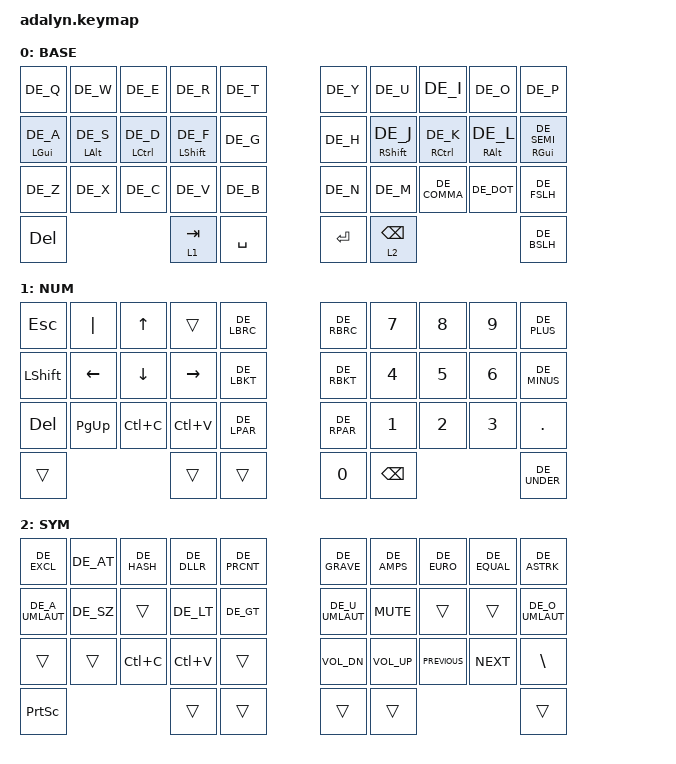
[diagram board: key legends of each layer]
#include <behaviors.dtsi>
#include <dt-bindings/zmk/keys.h>
#include <locale/keys_de.h>

#define BASE 0
#define NUM  1
#define NAV  2

#define COMBO(NAME, BINDINGS, KEYPOS, LAYERS) \
combo_##NAME { \
    timeout-ms = <20>; \
    bindings = <BINDINGS>; \
    key-positions = <KEYPOS>; \
    layers = <LAYERS>; \
};


/ {

    combos {
       compatible = "zmk,combos";
        /* Top corners (Q+P) = bootloader */
        combo_boot {
            key-positions = <0 9>;
            bindings = <&bootloader>;
        };
       
       combo_esc {
            timeout-ms = <50>;
            key-positions = <0 1>;
            bindings = <&kp ESC>;
       };
       combo_caps {
            timeout-ms = <50>;
            key-positions = <10 19>;
            bindings = <&caps_word>;
       };
       combo_singlequote {
            timeout-ms = <75>;
            key-positions = <7 8>;
            bindings = <&kp DE_SQT>;
       };
       combo_doublequote {
            timeout-ms = <75>;
            key-positions = <8 9>;
            bindings = <&kp DE_DQT>;
       };
       combo_minus {
            timeout-ms = <50>;
            key-positions = <17 18>;
            bindings = <&kp MINUS>;
       };
       combo_plus {
            timeout-ms = <50>;
            key-positions = <16 17>;
            bindings = <&kp PLUS>;
       };
       combo_equal {
            timeout-ms = <50>;
            key-positions = <27 28>;
            bindings = <&kp EQUAL>;
       };
       combo_underscore {
            timeout-ms = <50>;
            key-positions = <16 17 18>;
            bindings = <&kp DE_UNDER>;
       };
        combo_worddelete {
            timeout-ms = <50>;
            key-positions = <18 19>;
            bindings = <&kp LC(BSPC)>;
       };
        combo_questionmark {
            timeout-ms = <50>;
            key-positions = <28 29>;
            bindings = <&kp DE_QMARK>;
       };
    };

    behaviors {
        hl: homerow_mods_left {
            compatible = "zmk,behavior-hold-tap";
            label = "homerow mods left";
            #binding-cells = <2>;
            //flavor = "hold-preferred";
            // flavor = "tap-preferred";
            flavor = "balanced";
            tapping-term-ms = <160>;
            //quick-tap-ms = <100>;
            //hold-while-undecided;
            // global-quick-tap;
            bindings = <&kp>, <&kp>;
            // opposite side hand keys
            hold-trigger-key-positions = <5 6 7 8 9 15 16 17 18 19 25 26 27 28 29 30 31 32 33 34 35>;
        };
        hr: homerow_mods_right {
            compatible = "zmk,behavior-hold-tap";
            label = "homerow mods right";
            #binding-cells = <2>;
            //flavor = "hold-preferred";
            // flavor = "tap-preferred";
            flavor = "balanced";
            tapping-term-ms = <160>;
            //hold-while-undecided;
            //quick-tap-ms = <100>;
            // global-quick-tap;
            bindings = <&kp>, <&kp>;
            // opposite side hand keys
            hold-trigger-key-positions = <0 1 2 3 4 10 11 12 13 14 20 21 22 23 24 30 31 32 33 34 35>;
        };
    };

    keymap {
        compatible = "zmk,keymap";
        // ------------------------------------------------------------------------------------------------------
// |    0    |    1    |    2    |    3    |    4    |    5    |    6    |    7    |    8    |    9    |
// |   10    |   11    |   12    |   13    |   14    |   15    |   16    |   17    |   18    |   19    |
// |   20    |   21    |   22    |   23    |   24    |   25    |   26    |   27    |   28    |   29    |
// |   30    |                   |   31    |   32    |   33    |   34    |                   |   35    |

        BASE_layer {
            label= "BASE";
            bindings = <
                &kp DE_Q       &kp DE_W        &kp DE_E          &kp DE_R           &kp DE_T        &kp DE_Y   &kp DE_U        &kp DE_I       &kp DE_O      &kp DE_P
                &hl LGUI DE_A  &hl LALT DE_S   &hl LCTRL DE_D    &hl LSHFT DE_F     &kp DE_G        &kp DE_H   &hr RSHFT DE_J &hr RCTRL DE_K &hr RALT DE_L  &hr RGUI DE_SEMI
                &kp DE_Z       &kp DE_X        &kp DE_C          &kp DE_V           &kp DE_B        &kp DE_N   &kp DE_M       &kp DE_COMMA   &kp DE_DOT     &kp DE_FSLH
                &kp DEL                                 &lt 1 TAB       &kp SPACE   &kp ENTER       &lt 2 BSPC                                              &kp DE_BSLH
                        >;
        };


        NUM_layer {
            label= "NUM";
            bindings = <
                &kp ESC      &kp PIPE        &kp UP           &trans             &kp DE_LBRC  &kp DE_RBRC      &kp N7       &kp N8       &kp N9         &kp DE_PLUS
                &kp LSHFT    &kp LEFT        &kp DOWN         &kp RIGHT          &kp DE_LBKT  &kp DE_RBKT      &kp N4       &kp N5       &kp N6         &kp DE_MINUS
                &kp DEL      &kp PAGE_UP     &kp LC(C)        &kp LC(V)          &kp DE_LPAR  &kp DE_RPAR      &kp N1       &kp N2       &kp N3         &kp DOT 
                                        &trans        &trans        &trans       &kp N0       &kp BSPC                                                  &kp DE_UNDER
            >;
        };

        

        SYM_layer {
            label= "SYM";
            bindings = <
                &kp DE_EXCL     &kp DE_AT     &kp DE_HASH    &kp DE_DLLR        &kp DE_PRCNT    &kp DE_GRAVE    &kp DE_AMPS     &kp DE_EURO     &kp DE_EQUAL   &kp DE_ASTRK         
                &kp DE_A_UMLAUT &kp DE_SZ     &trans         &kp DE_LT          &kp DE_GT       &kp DE_U_UMLAUT &kp C_MUTE      &trans          &trans         &kp DE_O_UMLAUT
                &trans          &trans        &kp LC(C)      &kp LC(V)          &trans          &kp C_VOL_DN    &kp C_VOL_UP    &kp C_PREVIOUS  &kp C_NEXT     &kp BACKSLASH
                &kp PRINTSCREEN                              &trans             &trans          &trans      &trans                                             &trans
            >;
        };
    };
};
